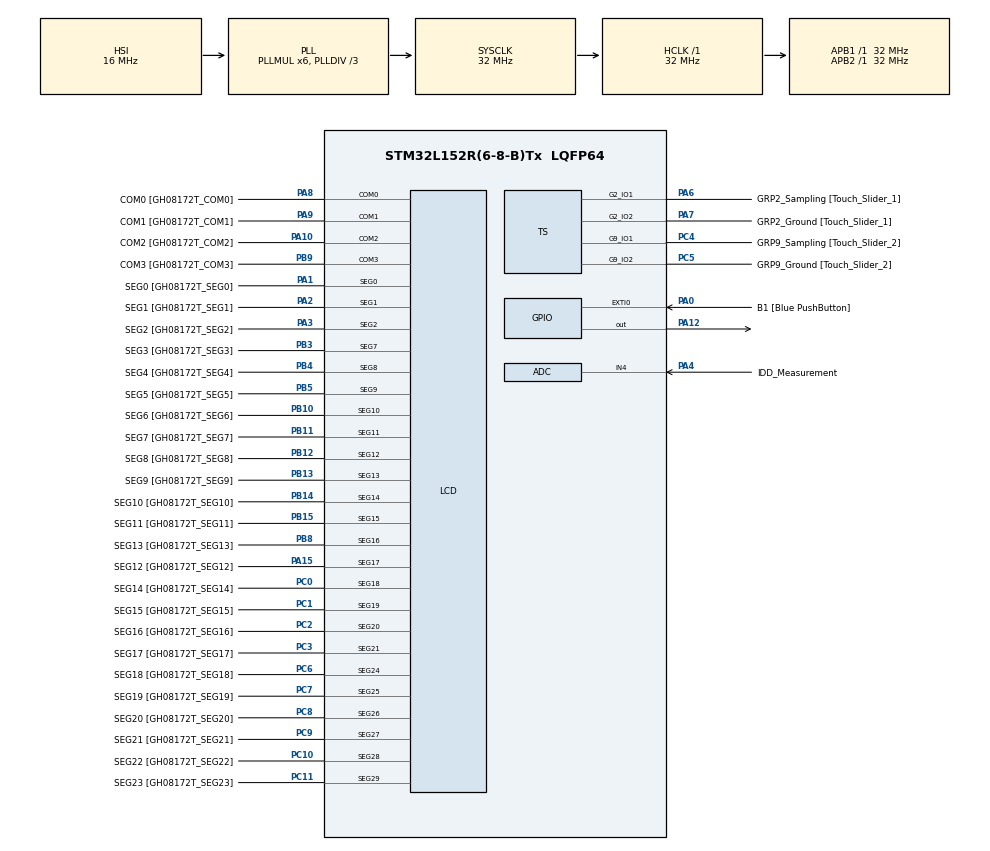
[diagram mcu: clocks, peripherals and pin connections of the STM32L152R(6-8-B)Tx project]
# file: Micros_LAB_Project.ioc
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ADC.Channel=ADC_CHANNEL_4
ADC.Channel-0\#ChannelRegularConversion=ADC_CHANNEL_4
ADC.Channel-IN4=ADC_CHANNEL_4
ADC.ExternalTrigConv=ADC_EXTERNALTRIGCONV_T2_CC3
ADC.ExternalTrigConv-0\#ChannelRegularConversion=ADC_SOFTWARE_START
ADC.ExternalTrigConvEdge=ADC_EXTERNALTRIGCONVEDGE_RISING
ADC.Rank-0\#ChannelRegularConversion=1
ADC.SamplingTime-0\#ChannelRegularConversion=ADC_SAMPLETIME_4CYCLES
Mcu.Family=STM32L1
Mcu.Name=STM32L152R(6-8-B)Tx
Mcu.Package=LQFP64
NVIC.PriorityGroup=NVIC_PRIORITYGROUP_0
PA0-WKUP1.GPIO_Label=B1 [Blue PushButton]
PA0-WKUP1.GPIO_ModeDefaultEXTI=GPIO_MODE_EVT_RISING
PA0-WKUP1.GPIO_PuPd=GPIO_NOPULL
PA0-WKUP1.Signal=GPXTI0
PA1.GPIO_Label=SEG0 [GH08172T_SEG0]
PA1.GPIO_Mode=GPIO_MODE_AF_PP
PA1.GPIO_PuPd=GPIO_NOPULL
PA1.GPIO_Speed=GPIO_SPEED_FREQ_LOW
PA1.Mode=SEG0
PA1.Signal=LCD_SEG0
PA10.GPIO_Label=COM2 [GH08172T_COM2]
PA10.GPIO_Mode=GPIO_MODE_AF_PP
PA10.GPIO_PuPd=GPIO_NOPULL
PA10.GPIO_Speed=GPIO_SPEED_FREQ_LOW
PA10.Mode=1/4 Duty Cycle
PA10.Signal=LCD_COM2
PA12.Signal=GPIO_Output
PA13.GPIO_Label=SWDIO
PA13.Mode=Serial_Wire
PA13.Signal=SYS_JTMS-SWDIO
PA14.GPIO_Label=SWCLK
PA14.Mode=Serial_Wire
PA14.Signal=SYS_JTCK-SWCLK
PA15.GPIO_Label=SEG12 [GH08172T_SEG12]
PA15.GPIO_Mode=GPIO_MODE_AF_PP
PA15.GPIO_PuPd=GPIO_NOPULL
PA15.GPIO_Speed=GPIO_SPEED_FREQ_LOW
PA15.Mode=SEG17
PA15.Signal=LCD_SEG17
PA2.GPIO_Label=SEG1 [GH08172T_SEG1]
PA2.GPIO_Mode=GPIO_MODE_AF_PP
PA2.GPIO_PuPd=GPIO_NOPULL
PA2.GPIO_Speed=GPIO_SPEED_FREQ_LOW
PA2.Mode=SEG1
PA2.Signal=LCD_SEG1
PA3.GPIO_Label=SEG2 [GH08172T_SEG2]
PA3.GPIO_Mode=GPIO_MODE_AF_PP
PA3.GPIO_PuPd=GPIO_NOPULL
PA3.GPIO_Speed=GPIO_SPEED_FREQ_LOW
PA3.Mode=SEG2
PA3.Signal=LCD_SEG2
PA4.GPIO_Label=IDD_Measurement
PA4.GPIO_Mode=GPIO_MODE_ANALOG
PA4.GPIO_PuPd=GPIO_NOPULL
PA4.Mode=IN4
PA4.Signal=ADC_IN4
PA6.GPIO_Label=GRP2_Sampling [Touch_Slider_1]
PA6.Mode=G2_IO1-Sampling
PA6.Signal=TS_G2_IO1
PA7.GPIO_Label=GRP2_Ground [Touch_Slider_1]
PA7.Mode=G2_IO2-Channel
PA7.Signal=TS_G2_IO2
PA8.GPIO_Label=COM0 [GH08172T_COM0]
PA8.GPIO_Mode=GPIO_MODE_AF_PP
PA8.GPIO_PuPd=GPIO_NOPULL
PA8.GPIO_Speed=GPIO_SPEED_FREQ_LOW
PA8.Mode=1/4 Duty Cycle
PA8.Signal=LCD_COM0
PA9.GPIO_Label=COM1 [GH08172T_COM1]
PA9.GPIO_Mode=GPIO_MODE_AF_PP
PA9.GPIO_PuPd=GPIO_NOPULL
PA9.GPIO_Speed=GPIO_SPEED_FREQ_LOW
PA9.Mode=1/4 Duty Cycle
PA9.Signal=LCD_COM1
PB0.Signal=TS_G3_IO1
PB1.Signal=TS_G3_IO2
PB10.GPIO_Label=SEG6 [GH08172T_SEG6]
PB10.GPIO_Mode=GPIO_MODE_AF_PP
PB10.GPIO_PuPd=GPIO_NOPULL
PB10.GPIO_Speed=GPIO_SPEED_FREQ_LOW
PB10.Mode=SEG10
PB10.Signal=LCD_SEG10
PB11.GPIO_Label=SEG7 [GH08172T_SEG7]
PB11.GPIO_Mode=GPIO_MODE_AF_PP
PB11.GPIO_PuPd=GPIO_NOPULL
PB11.GPIO_Speed=GPIO_SPEED_FREQ_LOW
PB11.Mode=SEG11
PB11.Signal=LCD_SEG11
PB12.GPIO_Label=SEG8 [GH08172T_SEG8]
PB12.GPIO_Mode=GPIO_MODE_AF_PP
PB12.GPIO_PuPd=GPIO_NOPULL
PB12.GPIO_Speed=GPIO_SPEED_FREQ_LOW
PB12.Mode=SEG12
PB12.Signal=LCD_SEG12
PB13.GPIO_Label=SEG9 [GH08172T_SEG9]
PB13.GPIO_Mode=GPIO_MODE_AF_PP
PB13.GPIO_PuPd=GPIO_NOPULL
PB13.GPIO_Speed=GPIO_SPEED_FREQ_LOW
PB13.Mode=SEG13
PB13.Signal=LCD_SEG13
PB14.GPIO_Label=SEG10 [GH08172T_SEG10]
PB14.GPIO_Mode=GPIO_MODE_AF_PP
PB14.GPIO_PuPd=GPIO_NOPULL
PB14.GPIO_Speed=GPIO_SPEED_FREQ_LOW
PB14.Mode=SEG14
PB14.Signal=LCD_SEG14
PB15.GPIO_Label=SEG11 [GH08172T_SEG11]
PB15.GPIO_Mode=GPIO_MODE_AF_PP
PB15.GPIO_PuPd=GPIO_NOPULL
PB15.GPIO_Speed=GPIO_SPEED_FREQ_LOW
PB15.Mode=SEG15
PB15.Signal=LCD_SEG15
PB3.GPIO_Label=SEG3 [GH08172T_SEG3]
PB3.GPIO_Mode=GPIO_MODE_AF_PP
PB3.GPIO_PuPd=GPIO_NOPULL
PB3.GPIO_Speed=GPIO_SPEED_FREQ_LOW
PB3.Mode=SEG7
PB3.Signal=LCD_SEG7
PB4.GPIO_Label=SEG4 [GH08172T_SEG4]
PB4.GPIO_Mode=GPIO_MODE_AF_PP
PB4.GPIO_PuPd=GPIO_NOPULL
PB4.GPIO_Speed=GPIO_SPEED_FREQ_LOW
PB4.Mode=SEG8
PB4.Signal=LCD_SEG8
PB5.GPIO_Label=SEG5 [GH08172T_SEG5]
PB5.GPIO_Mode=GPIO_MODE_AF_PP
PB5.GPIO_PuPd=GPIO_NOPULL
PB5.GPIO_Speed=GPIO_SPEED_FREQ_LOW
PB5.Mode=SEG9
PB5.Signal=LCD_SEG9
PB6.Signal=S_TIM4_CH1
PB7.Signal=S_TIM4_CH2
PB8.GPIO_Label=SEG13 [GH08172T_SEG13]
PB8.GPIO_Mode=GPIO_MODE_AF_PP
PB8.GPIO_PuPd=GPIO_NOPULL
PB8.GPIO_Speed=GPIO_SPEED_FREQ_LOW
PB8.Mode=SEG16
PB8.Signal=LCD_SEG16
PB9.GPIO_Label=COM3 [GH08172T_COM3]
PB9.GPIO_Mode=GPIO_MODE_AF_PP
PB9.GPIO_PuPd=GPIO_NOPULL
PB9.GPIO_Speed=GPIO_SPEED_FREQ_LOW
PB9.Mode=1/4 Duty Cycle
PB9.Signal=LCD_COM3
PC0.GPIO_Label=SEG14 [GH08172T_SEG14]
PC0.GPIO_Mode=GPIO_MODE_AF_PP
PC0.GPIO_PuPd=GPIO_NOPULL
PC0.GPIO_Speed=GPIO_SPEED_FREQ_LOW
PC0.Mode=SEG18
PC0.Signal=LCD_SEG18
PC1.GPIO_Label=SEG15 [GH08172T_SEG15]
PC1.GPIO_Mode=GPIO_MODE_AF_PP
PC1.GPIO_PuPd=GPIO_NOPULL
PC1.GPIO_Speed=GPIO_SPEED_FREQ_LOW
PC1.Mode=SEG19
PC1.Signal=LCD_SEG19
PC10.GPIO_Label=SEG22 [GH08172T_SEG22]
PC10.GPIO_Mode=GPIO_MODE_AF_PP
PC10.GPIO_PuPd=GPIO_NOPULL
PC10.GPIO_Speed=GPIO_SPEED_FREQ_LOW
PC10.Mode=SEG28
PC10.Signal=LCD_SEG28
PC11.GPIO_Label=SEG23 [GH08172T_SEG23]
PC11.GPIO_Mode=GPIO_MODE_AF_PP
PC11.GPIO_PuPd=GPIO_NOPULL
PC11.GPIO_Speed=GPIO_SPEED_FREQ_LOW
PC11.Mode=SEG29
PC11.Signal=LCD_SEG29
PC14-OSC32_IN.GPIO_Label=PC14-OSC32_IN
PC14-OSC32_IN.Mode=LSE-External-Oscillator
PC14-OSC32_IN.Signal=RCC_OSC32_IN
PC15-OSC32_OUT.GPIO_Label=PC15-OSC32_OUT
PC15-OSC32_OUT.Mode=LSE-External-Oscillator
PC15-OSC32_OUT.Signal=RCC_OSC32_OUT
PC2.GPIO_Label=SEG16 [GH08172T_SEG16]
PC2.GPIO_Mode=GPIO_MODE_AF_PP
PC2.GPIO_PuPd=GPIO_NOPULL
PC2.GPIO_Speed=GPIO_SPEED_FREQ_LOW
PC2.Mode=SEG20
PC2.Signal=LCD_SEG20
PC3.GPIO_Label=SEG17 [GH08172T_SEG17]
PC3.GPIO_Mode=GPIO_MODE_AF_PP
PC3.GPIO_PuPd=GPIO_NOPULL
PC3.GPIO_Speed=GPIO_SPEED_FREQ_LOW
PC3.Mode=SEG21
PC3.Signal=LCD_SEG21
PC4.GPIO_Label=GRP9_Sampling [Touch_Slider_2]
PC4.Mode=G9_IO1-Sampling
PC4.Signal=TS_G9_IO1
PC5.GPIO_Label=GRP9_Ground [Touch_Slider_2]
PC5.Mode=G9_IO2-Channel
PC5.Signal=TS_G9_IO2
PC6.GPIO_Label=SEG18 [GH08172T_SEG18]
PC6.GPIO_Mode=GPIO_MODE_AF_PP
PC6.GPIO_PuPd=GPIO_NOPULL
PC6.GPIO_Speed=GPIO_SPEED_FREQ_LOW
PC6.Mode=SEG24
PC6.Signal=LCD_SEG24
PC7.GPIO_Label=SEG19 [GH08172T_SEG19]
PC7.GPIO_Mode=GPIO_MODE_AF_PP
PC7.GPIO_PuPd=GPIO_NOPULL
PC7.GPIO_Speed=GPIO_SPEED_FREQ_LOW
PC7.Mode=SEG25
PC7.Signal=LCD_SEG25
PC8.GPIO_Label=SEG20 [GH08172T_SEG20]
PC8.GPIO_Mode=GPIO_MODE_AF_PP
PC8.GPIO_PuPd=GPIO_NOPULL
PC8.GPIO_Speed=GPIO_SPEED_FREQ_LOW
PC8.Mode=SEG26
PC8.Signal=LCD_SEG26
PC9.GPIO_Label=SEG21 [GH08172T_SEG21]
PC9.GPIO_Mode=GPIO_MODE_AF_PP
PC9.GPIO_PuPd=GPIO_NOPULL
PC9.GPIO_Speed=GPIO_SPEED_FREQ_LOW
PC9.Mode=SEG27
PC9.Signal=LCD_SEG27
ProjectManager.HeapSize=0x200
ProjectManager.StackSize=0x400
ProjectManager.TargetToolchain=STM32CubeIDE
RCC.48MHZClocksFreq_Value=48000000
RCC.AHBFreq_Value=32000000
RCC.APB1Freq_Value=32000000
RCC.APB1TimFreq_Value=32000000
RCC.APB2Freq_Value=32000000
RCC.APB2TimFreq_Value=32000000
RCC.HCLKFreq_Value=32000000
RCC.HSE_VALUE=8000000
RCC.HSI_VALUE=16000000
RCC.MSI_VALUE=2097000
RCC.PLLDIV=RCC_PLL_DIV3
RCC.PLLMUL=RCC_PLL_MUL6
RCC.RTCClockSelectionVirtual=RCC_RTCCLKSOURCE_LSE
RCC.SYSCLKFreq_VALUE=32000000
RCC.SYSCLKSource=RCC_SYSCLKSOURCE_PLLCLK
RCC.USBOutput=48000000
RCC.VCOOutputFreq_Value=96000000
SH.S_TIM4_CH1.0=TIM4_CH1
SH.S_TIM4_CH2.0=TIM4_CH2
TS.SamplingIOs-G2_IO1-Sampling=TSC_GROUP2_IO1
TS.SamplingIOs-G9_IO1-Sampling=TSC_GROUP9_IO1
VP_TIM3_VS_ClockSourceINT.Mode=Internal
VP_TIM4_VS_ClockSourceINT.Mode=Internal
board=STM32L-DISCOVERY

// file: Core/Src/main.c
/* USER CODE BEGIN Header */
/**
  ******************************************************************************
  * @file           : main.c
  * @brief          : Main program body
  ******************************************************************************
  * @attention
  *
  * Copyright (c) 2022 STMicroelectronics.
  * All rights reserved.
  *
  * This software is licensed under terms that can be found in the LICENSE file
  * in the root directory of this software component.
  * If no LICENSE file comes with this software, it is provided AS-IS.
  *
  * @authors        : Rodrigo De Lama Fernández @rodrigodelama
  *                   Manuel Morales Niño @ikaoseu
  *                   Jaime Mato Rodriguez @Pekeniojimi
  *
  * @repo           : https://github.com/rodrigodelama/LAB_1
  *
  ******************************************************************************
  */
/* USER CODE END Header */
#include "main.h"

/* USER CODE BEGIN Includes */
#include "stm32l152c_discovery.h"
#include "stm32l152c_discovery_glass_lcd.h"
#include "SDM_Utils.h"
/* USER CODE END Includes */

 ADC_HandleTypeDef hadc;

LCD_HandleTypeDef hlcd;

TIM_HandleTypeDef htim3;
TIM_HandleTypeDef htim4;

/* USER CODE BEGIN PV */
//GLOBAL VARS & DEFINITIONS
//game vars
unsigned int prev_game = 0;
unsigned int game = 1; //game 1 is the starting point
unsigned int winner = 0; //Init to 0, if it never changes, it will generate an error
unsigned int playing = 0; // to not activate the interrupts unless we are awaiting

//timer vars
int countdown[] = {10, 9, 8, 7, 6, 5, 4, 3, 2, 1};
//unsigned int game1_rand;
unsigned int diff;
unsigned int diff1;
unsigned int diff2;
char p1w[10];

/* ideas for timer variables
unsigned int led_timer = sec; //minimum 1 sec
unsigned short init_time = 0;
unsigned int time1;
unsigned int time_taken = 0;
*/

/* USER CODE END PV */

void SystemClock_Config(void);
static void MX_GPIO_Init(void);
static void MX_ADC_Init(void);
static void MX_LCD_Init(void);
static void MX_TS_Init(void);
static void MX_TIM4_Init(void);
static void MX_TIM3_Init(void);

/* USER CODE BEGIN 0 */
//INTERRUPTS
void EXTI0_IRQHandler(void)
{
  // USER BUTTON is pressed, a rising edge is detected in PA0
  if ((EXTI->PR&BIT_0) != 0) // Is EXTI0 flag on? //0000000000000001 in the Pending Register of ISER[0]
  {
	  game++; //If at GAME 1, proceed to GAME 2
	  if (game > 2) game = 1; //Reset to 1 after requesting change from GAME 2
  }
  EXTI->PR |= (1 << 6); // Clear EXTI0 flag (writes a 1 in PR0 pos)
  //Clear flag must be out of condition so it never hangs if condition is not met
}

// NVIC->ISER[0] pin 23 for EXTIs 9 to 5
void EXTI9_5_IRQHandler(void) //ISR for EXTI7 & EXTI6
{
  if (((EXTI->PR&BIT_7) || (EXTI->PR&BIT_6)) != 0) //most general aproach --> (EXTI->PR != 0)
  {
    // BUTTON 1 is pressed, a rising edge is detected in PB7
    if (EXTI->PR & (1 << 7) && (playing == 1)) // 00000000010000000 in pending register of ISER[0]
    {
      winner = 1;
    }
    // BUTTON 2 is pressed, a rising edge is detected in PB6
    if (EXTI->PR & (1 << 6) && (playing == 1)) // 00000000001000000 in pending register
    {
      winner = 2;
    }
  }
  //Always clear flags to avoid hanging
  EXTI->PR |= (1 << 7); // Clear the EXTI7 flag (writes a 1 in PR7)
  EXTI->PR |= (1 << 6); // Clear the EXTI6 flag
}

//TIMERS
//timers TOC timer 3 ch4
void TIM3_IRQHandler(void)
{
/**
 * @brief
 *             //here?
            TIM3->CCR = random_num(0, 10000);
 */
  //we possibly should not care, just use ch1 for game 1, ch2 for game 2
  /*
  if ((TIM3->SR & BIT_1) != 0)
  {
    switch (game)
    {
    case 1:
      //for led shutoff
      //game1_rand = random_num(0, 10000);
      //TIM3->CCR1 = game1_rand;
      TIM3->CCR1 = random_num(0, 1000000);
    break;

    case 2:
      //TIM3->CCR1 from 0 to 10000
    break;

    default:
      break;
    }
  }
*/
}
//timers TIC timer 4 ch1 and ch2
void TIM4_IRQHandler(void) //TIC
{
  //checks if it has been activated if so makes it work
//checks if the SR has been flagged or if its
//checks if the event has come
}
/* USER CODE END 0 */

int main(void)
{

  /* MCU Configuration--------------------------------------------------------*/

  /* Reset of all peripherals, Initializes the Flash interface and the Systick. */
  HAL_Init();

  /* Configure the system clock */
  SystemClock_Config();

  /* Initialize all configured peripherals */
  MX_GPIO_Init();
  MX_ADC_Init();
  MX_LCD_Init();
  MX_TS_Init();
  MX_TIM4_Init();
  MX_TIM3_Init();
  /* USER CODE BEGIN 2 */
  //DECLARATION OF PERIPHERALS WE WILL USE

  //LCD Setup
  BSP_LCD_GLASS_Init();
  BSP_LCD_GLASS_BarLevelConfig(0);
  BSP_LCD_GLASS_Clear();

  //Pins + their EXTIs - I/O
  /* PB0 ---------------------------------------------------------------------*/
  //PA0 (USER BUTTON) - digital input (00)
  GPIOA->MODER &= ~(1 << (0*2 + 1));
  GPIOA->MODER &= ~(1 << (0*2));
  //EXTI0
  SYSCFG->EXTICR[0] = 0000; // Linking EXTI0 to GPIOA (PA0 = USER BUTTON) - all zeros mean GPIOA
  EXTI->RTSR |= BIT_0; // Enables rising edge in EXTI0
  EXTI->FTSR &= ~(BIT_0); // Disables falling edge in EXTI0
  EXTI->IMR |= BIT_0; // Enables the Interrupt (i.e. the event) (IMR = Interrupt Mask Register)
  NVIC->ISER[0] |= (1 << 6); //Enables EXTI0 in the NVICs ISER[0]s position 6

  //USING I/O PINS 7 & 6 FOR PLAYER BUTTONS 1 & 2 RESPECTIVELY
  /* PB7 ---------------------------------------------------------------------*/
  //PB7 (BUTTON 1) - digital input (00)
  //Set PB7 to 10 for Alternate Functions (AFs)
  GPIOB->MODER |= (1 << (7*2 + 1));
  GPIOB->MODER &= ~(1 << (7*2));
  //AF for TIM4_CH2
  GPIOB->AFR[0] |= (0x02 << (7*4)); // Writes 0010 in AFRL7
  //WE NEED INTERNAL RESISTORS - pull-up OR pull-down ?
  //We chose pull-up: a constant 1 unless we press, then its shorted to GND
  //Set up with pull-up resistor (01)
  GPIOB->PUPDR &= ~(1 << (7*2 + 1));
  GPIOB->PUPDR |= (1 << (7*2));
  //EXTI7
  SYSCFG->EXTICR[1] |= BIT_12; // Linking EXTI7 to GPIOB (PB7 = BUTTON 1)
                    // Sets a 1 in bit 12 see page 145 of the manual
  EXTI->RTSR &= ~(BIT_7); // Disables rising edge in EXTI7
  EXTI->FTSR |= BIT_7; // Enables falling edge in EXTI7
  EXTI->IMR |= BIT_7; // Enables the interrupt
  NVIC->ISER[0] |= (1 << 23); // EXTI7 has position 23 in ISER[0]

  /* PB6 ---------------------------------------------------------------------*/
  //PB6 (BUTTON 2) - digital input (00)
  //TIM4_CH1
  //Set PB6 to 10 for AFs
  GPIOB->MODER |= (1 << (6*2 + 1));
  GPIOB->MODER &= ~(1 << (6*2));
  //Set up with pull-up resistor (01)
  GPIOB->PUPDR &= ~(1 << (6*2 + 1));
  GPIOB->PUPDR |= (1 << (6*2));
  //AF for TIM4_CH1
  GPIOB->AFR[0] |= (0x02 << (6*4)); // Writes 0010 in AFRL6
  //EXTI6
  SYSCFG->EXTICR[1] |= BIT_8; // Linking EXTI6 to GPIOB (PB6 = BUTTON 2)
                    // Sets a 1 in bit 8 see page 145 of the manual
  EXTI->RTSR &= ~(BIT_6); // Disables rising edge in EXTI6
  EXTI->FTSR |= BIT_6; // Enables falling edge in EXTI6
  EXTI->IMR |= BIT_6; // Enables the interrupt
  NVIC->ISER[0] |= (1 << 23); // EXTI6 & 7 have position 23 in the NVIC, since

  //TIMERS
  /* TIM3 --------------------------------------------------------------------*/
  //No pin assignment, we just plainly use it for the TOC
  //SET-UP for TIMs 3, CH3 & CH4 - TOCs, for random LED off and TBD
  TIM3->CR1 = 0x0000; // ON IN CODE BELOW
  TIM3->CR2 = 0x0000; // Always set to 0
  TIM3->SMCR = 0x0000; // Always set to 0
  TIM3->PSC = 32000;
  TIM3->CNT = 0;
  TIM3->ARR = 0xFFFF; //USED IN PWN
  TIM3->CCMR1 = 0x0000;  //CCyS = 0 (TOC)
                         //OCyM = 000 (no external output)
                         //OCyPE = 0 (no preload)
  TIM3->CCER = 0x0000;   //CCyP = 0 (always in TOC)
                         //CCyE = (external output disabled)
  TIM3->CCR1 = random_num(0, 10000);
  //TIM3->CC1S = 00;
  //TIM3->OC1M = 000; //TOC NO OUTPUT
  TIM3->DIER |= BIT_0; //activated IRQ for channel 1
  TIM3->CR1 |= 1; // Set BIT_0 to 1 to activate the timer

  /* TIM 4 -------------------------------------------------------------------*/
  //Assigned to PB7 and PB7
  //SET-UP for TIMs 4, CH1 & CH2 - TICs
  TIM4->CR1 = 0x0000; //Set to 0 for Counter OFF - ON IN CODE BELOW
                      //ARPE off because NOT PWM
  TIM4->CR2 = 0x0000; //Always set to 0
  TIM4->SMCR = 0x0000; //Always set to 0
  TIM4->PSC = 31999; //Means fclk/(PSC+1)
  TIM4->CNT = 0;
  TIM4->ARR = 0xFFFF; //USED IN PWN
  //TIM4->CC3S = 01;
  //TIM4->CC4S = 01;

  //FIXME:
  TIM4->DIER = 0X0000; //No IRQ after succesful comparison -> CCyIE = 0

  /* COMMENTS ----------------------------------------------------------------*/
  //CCMR1 for ch1 and ch2
  //CCMR2 for ch3 and ch4

  //activate I/O here
  //TIC ojo con la entrada

  // CCR4
  // TIM3->CCR4 = rand_value_where_we_stop; //It will always be lower than 0xFFFF (65,535 > 10,000)
                  //Our max time value will be 10secs

  /* LEDs ---------------------------------------------------------------------*/
  //LED1
  //PA12 (EXTERNAL LED1) - AF
  GPIOA->MODER &= ~(1 << (12*2 + 1));
  GPIOA->MODER |= (1 << (12*2));
  GPIOA->AFR[0] |= (0x02 << (12*4)); // Writes 0010 in AFRL12
  //Set up with pull-up resistor (01)
  GPIOA->PUPDR &= ~(1 << (12*2 + 1));
  GPIOA->PUPDR |= (1 << (12*2));
  //LED2
  //PD2 (EXTERNAL LED2) - digital output (01)
  GPIOD->MODER &= ~(1 << (2*2 + 1));
  GPIOD->MODER |= (1 << (2*2));
  //Set up with pull-up resistor (01)
  GPIOD->PUPDR &= ~(1 << (2*2 + 1));
  GPIOD->PUPDR |= (1 << (2*2));

  /* USER CODE END 2 */

  /* Infinite loop */
  /* USER CODE BEGIN WHILE */
  while (1)
  {
    //Requirements
    //Display GAME 1 (initially) --> DONE IN GLOBAL VAR DECLARATION
    //If the USER BUTTON is pressed, change to GAME 2 (at ANY time) --> global if
    //In GAME 1, wait predetermined time and start (use espera() function)

    //Global IF condition, so we may immediately switch between games
    //(a WHILE would force us to finish the code execution inside)

    //All LEDs shall be initially off - when changing game modes, upon a restart of the main while loop
    GPIOA->BSRR = (1 << 12) << 16;
    GPIOD->BSRR = (1 << 2) << 16;

    //Clear all timer flags to be used
    TIM4->SR = 0; // CLEAR FLAGS
    TIM3->SR = 0;

    if (prev_game != game)
    {
      prev_game = game;
      switch(game)
      {
        case 1: // GAME 1 - REACTION TIME
          while (game == 1)
          {
            BSP_LCD_GLASS_Clear(); //Clear LCD
            BSP_LCD_GLASS_DisplayString((uint8_t*)" GAME1");
            espera(2*sec);
            //if (prev_game != game) break;
            //GAME STARTS HERE
            BSP_LCD_GLASS_Clear(); //Not strictly needed since we are printing the same No. of chars to display
            BSP_LCD_GLASS_DisplayString((uint8_t*)" READY");
            espera(2*sec);
            //if (prev_game != game) break;
            BSP_LCD_GLASS_Clear();
            BSP_LCD_GLASS_DisplayString((uint8_t*)"  GO");
            //if (prev_game != game) break;
            //Waiting for users to input

            //random num generator lower than 10000 (ten thousand) - 10 secs to

            while ((game == 1) && (winner == 0)) //(game == 1) is also necessary in case we want to change games here
            {
              playing = 1;
              if (prev_game != game) break;  //Not sure if needed

              //FIXME: review - ask
              //Start counters
              TIM3->CR1 |= 0x0001;   //CEN = 1 Start counter
              TIM3->EGR |= 0x0001;   //UG = 1->Generate an update event to update all registers
              //TIM3->SR = 0;          //clear counter flags

              //Before 10 secs at ANY time, LED1 ON
              //Random timer reaches zero - led
              while ((TIM3->CNT) != (TIM3->CCR1))
              {
                if (prev_game != game) break;
              }
              while (winner == 0)
              {
                while((TIM3->SR&0x0002)==0);
                TIM3->SR &= ~(0x0002);
                GPIOA->BSRR = (1 << 12); // LED ON while no player has pressed their button yet
                  //Start TICs counters
                TIM4->CR1 |= BIT_0;
                TIM4->EGR |= BIT_0;
                if (prev_game != game) break;
              }
              if (prev_game != game) break;
            }

            //WINNER is determined by the interrupts, they will change the var winner to 1 or 2 respectively
            if (winner == 1)
            {
              GPIOA->BSRR = (1 << 12) << 16; //Turn off the LED after a win
              BSP_LCD_GLASS_Clear();

              //FIXME: review
              //which is tim4->cnt count for ch3 or ch4 ???????
              diff = ((TIM4->CNT) - (TIM3->CCR1));

              diff1 = diff + 10000; //+10000 to always have P1 won (1XXXX
              //p1w = strcat(" 1", (char*) diff);
              //format shall be Y user followed by XXXX milliseconds
              BSP_LCD_GLASS_DisplayString((uint8_t*) diff1);

              espera(2*sec); //wait so the player acknowledges their win
              winner = 0; //reset winner for future match
              playing = 0;
              //reset timers? or do we reset at the start of each game?
            }
            else if (winner == 2) // We use an else if because we only want ONE winner
            {
              GPIOA->BSRR = (1 << 12) << 16;
              BSP_LCD_GLASS_Clear();

              diff = ((TIM4->CNT) - (TIM3->CCR1));
              diff2 = diff + 20000; //+20000 to always have P2 won (2XXXX)
              //char p2w[] = " 2" + diff;
              BSP_LCD_GLASS_DisplayString((uint8_t*) diff2);

              espera(2*sec);
              winner = 0;
              playing = 0;
            }
          }
        break;

        case 2: // GAME 2 - COUNTDOWN
          while (game == 2)
          {
            //TODO: COUNTDOWN
            BSP_LCD_GLASS_Clear();
            BSP_LCD_GLASS_DisplayString((uint8_t*)" GAME2");
            espera(2*sec);
            //if (prev_game != game) break;

            //COUNTDOWN GAME
            //users are displayed the countdown in real time from 10 in real time
            //at a random time (a while before 0)
            //the countdown STOPS being displayed
            //the users have to attempt to press the button when the countdown reaches 0

            //The player with the closest time to 0 will win
            //Pressing before the countdown ends will result in displaying -XXXX time left
            //Pressing after the countdown ends will result in displaying +XXXX time passed
            //The player to have the closest absolute value to 0, wins

            //REVIEW BELOW
            //Determine OVERTIME or UNDERTIME with TOC minus TIC
            //undertime if TIM3 hasnt reached 0 so do operation (time_to_zero - input_time)

            BSP_LCD_GLASS_Clear();
            BSP_LCD_GLASS_DisplayString((uint8_t*)" READY");
            espera(2*sec);
            //if (prev_game != game) break;
            BSP_LCD_GLASS_Clear();
            BSP_LCD_GLASS_DisplayString((uint8_t*)" SET");
/*
            //NOT A WHILE - Not waiting, just counting
            //We want a continuously running game (3 seconds max of waiting for user input)
            if ((winner == 0) && (tim4_TICs << 3*sec)) //if wait to press is longer than 3 secs after countdown = 0, abort and restart game
            {
              //start countdown with tim3_ch3
              if (prev_game != game) break;
              playing = 1;
              //When random timer reaches zero STOP LCD DISPLAY
              //keep counting down though
              // if lcd_on != 0 keep on displaying, else kill lcd

              //send an array of ASCII code for the countdown

              if (winner == 1)
              {
                GPIOA->BSRR = (1 << 12); //Turn ON LED1 for P1 win
                BSP_LCD_GLASS_Clear();

                //format shall be Y user followed by XXXX milliseconds
                BSP_LCD_GLASS_DisplayString((uint8_t*)" P1 W"); //(" 1%d", time_taken)

                espera(2*sec); //wait so the player acknowledges their win
                winner = 0; //reset winner for future match
                playing = 0;
                //reset timers? or do we reset at the start of each game?
              }
              else if (winner == 2) // We use an else if because we only want ONE winner
              {
                GPIOD->BSRR = (1 << 2); //Turn ON LED2 for P2 win
                BSP_LCD_GLASS_Clear();
                BSP_LCD_GLASS_DisplayString((uint8_t*)" P2 W");

                espera(2*sec);
                winner = 0;
                playing = 0;
              }
              //Retry message for when players take more than 20 post countdown reaching 0 to react
              if (tim4_TICs << 30*sec) BSP_LCD_GLASS_DisplayString((uint8_t*)" RETRY");

              //USE TIMER to count how many secs and add to a variable
              //time_taken = timer_value at break
            }
*/
          }
        break;

        //This code below should be unreachable on purpose
        //Written to acknowledge a logical failure (of our code)
        default:
          GPIOA->BSRR = (1 << 12) << 16;
          BSP_LCD_GLASS_Clear();
          BSP_LCD_GLASS_DisplayString((uint8_t*)" ERROR");
          espera(2*sec);
          BSP_LCD_GLASS_Clear();
          BSP_LCD_GLASS_DisplayString((uint8_t*)" RESET");
        break;
      }
    }
  HAL_Delay(50); //to avoid button bouncing
    /* USER CODE END WHILE */

  }
}

void SystemClock_Config(void)
{
  RCC_OscInitTypeDef RCC_OscInitStruct = {0};
  RCC_ClkInitTypeDef RCC_ClkInitStruct = {0};
  RCC_PeriphCLKInitTypeDef PeriphClkInit = {0};

  /** Configure the main internal regulator output voltage
  */
  __HAL_PWR_VOLTAGESCALING_CONFIG(PWR_REGULATOR_VOLTAGE_SCALE1);

  /** Initializes the RCC Oscillators according to the specified parameters
  * in the RCC_OscInitTypeDef structure.
  */
  RCC_OscInitStruct.OscillatorType = RCC_OSCILLATORTYPE_HSI|RCC_OSCILLATORTYPE_LSE;
  RCC_OscInitStruct.LSEState = RCC_LSE_ON;
  RCC_OscInitStruct.HSIState = RCC_HSI_ON;
  RCC_OscInitStruct.HSICalibrationValue = RCC_HSICALIBRATION_DEFAULT;
  RCC_OscInitStruct.PLL.PLLState = RCC_PLL_ON;
  RCC_OscInitStruct.PLL.PLLSource = RCC_PLLSOURCE_HSI;
  RCC_OscInitStruct.PLL.PLLMUL = RCC_PLL_MUL6;
  RCC_OscInitStruct.PLL.PLLDIV = RCC_PLL_DIV3;
  if (HAL_RCC_OscConfig(&RCC_OscInitStruct) != HAL_OK)
  {
    Error_Handler();
  }

  /** Initializes the CPU, AHB and APB buses clocks
  */
  RCC_ClkInitStruct.ClockType = RCC_CLOCKTYPE_HCLK|RCC_CLOCKTYPE_SYSCLK
                              |RCC_CLOCKTYPE_PCLK1|RCC_CLOCKTYPE_PCLK2;
  RCC_ClkInitStruct.SYSCLKSource = RCC_SYSCLKSOURCE_PLLCLK;
  RCC_ClkInitStruct.AHBCLKDivider = RCC_SYSCLK_DIV1;
  RCC_ClkInitStruct.APB1CLKDivider = RCC_HCLK_DIV1;
  RCC_ClkInitStruct.APB2CLKDivider = RCC_HCLK_DIV1;

  if (HAL_RCC_ClockConfig(&RCC_ClkInitStruct, FLASH_LATENCY_1) != HAL_OK)
  {
    Error_Handler();
  }
  PeriphClkInit.PeriphClockSelection = RCC_PERIPHCLK_RTC|RCC_PERIPHCLK_LCD;
  PeriphClkInit.RTCClockSelection = RCC_RTCCLKSOURCE_LSE;
  PeriphClkInit.LCDClockSelection = RCC_RTCCLKSOURCE_LSE;

  if (HAL_RCCEx_PeriphCLKConfig(&PeriphClkInit) != HAL_OK)
  {
    Error_Handler();
  }
}

static void MX_ADC_Init(void)
{

  ADC_ChannelConfTypeDef sConfig = {0};

  /** Configure the global features of the ADC (Clock, Resolution, Data Alignment and number of conversion)
  */
  hadc.Instance = ADC1;
  hadc.Init.ClockPrescaler = ADC_CLOCK_ASYNC_DIV1;
  hadc.Init.Resolution = ADC_RESOLUTION_12B;
  hadc.Init.DataAlign = ADC_DATAALIGN_RIGHT;
  hadc.Init.ScanConvMode = ADC_SCAN_DISABLE;
  hadc.Init.EOCSelection = ADC_EOC_SEQ_CONV;
  hadc.Init.LowPowerAutoWait = ADC_AUTOWAIT_DISABLE;
  hadc.Init.LowPowerAutoPowerOff = ADC_AUTOPOWEROFF_DISABLE;
  hadc.Init.ChannelsBank = ADC_CHANNELS_BANK_A;
  hadc.Init.ContinuousConvMode = DISABLE;
  hadc.Init.NbrOfConversion = 1;
  hadc.Init.DiscontinuousConvMode = DISABLE;
  hadc.Init.ExternalTrigConv = ADC_EXTERNALTRIGCONV_T2_CC3;
  hadc.Init.ExternalTrigConvEdge = ADC_EXTERNALTRIGCONVEDGE_RISING;
  hadc.Init.DMAContinuousRequests = DISABLE;
  if (HAL_ADC_Init(&hadc) != HAL_OK)
  {
    Error_Handler();
  }

  /** Configure for the selected ADC regular channel its corresponding rank in the sequencer and its sample time.
  */
  sConfig.Channel = ADC_CHANNEL_4;
  sConfig.Rank = ADC_REGULAR_RANK_1;
  sConfig.SamplingTime = ADC_SAMPLETIME_4CYCLES;
  if (HAL_ADC_ConfigChannel(&hadc, &sConfig) != HAL_OK)
  {
    Error_Handler();
  }

}

static void MX_LCD_Init(void)
{

  hlcd.Instance = LCD;
  hlcd.Init.Prescaler = LCD_PRESCALER_1;
  hlcd.Init.Divider = LCD_DIVIDER_16;
  hlcd.Init.Duty = LCD_DUTY_1_4;
  hlcd.Init.Bias = LCD_BIAS_1_4;
  hlcd.Init.VoltageSource = LCD_VOLTAGESOURCE_INTERNAL;
  hlcd.Init.Contrast = LCD_CONTRASTLEVEL_0;
  hlcd.Init.DeadTime = LCD_DEADTIME_0;
  hlcd.Init.PulseOnDuration = LCD_PULSEONDURATION_0;
  hlcd.Init.MuxSegment = LCD_MUXSEGMENT_DISABLE;
  hlcd.Init.BlinkMode = LCD_BLINKMODE_OFF;
  hlcd.Init.BlinkFrequency = LCD_BLINKFREQUENCY_DIV8;
  if (HAL_LCD_Init(&hlcd) != HAL_OK)
  {
    Error_Handler();
  }

}

static void MX_TIM3_Init(void)
{

  TIM_ClockConfigTypeDef sClockSourceConfig = {0};
  TIM_MasterConfigTypeDef sMasterConfig = {0};

  htim3.Instance = TIM3;
  htim3.Init.Prescaler = 0;
  htim3.Init.CounterMode = TIM_COUNTERMODE_UP;
  htim3.Init.Period = 65535;
  htim3.Init.ClockDivision = TIM_CLOCKDIVISION_DIV1;
  htim3.Init.AutoReloadPreload = TIM_AUTORELOAD_PRELOAD_DISABLE;
  if (HAL_TIM_Base_Init(&htim3) != HAL_OK)
  {
    Error_Handler();
  }
  sClockSourceConfig.ClockSource = TIM_CLOCKSOURCE_INTERNAL;
  if (HAL_TIM_ConfigClockSource(&htim3, &sClockSourceConfig) != HAL_OK)
  {
    Error_Handler();
  }
  sMasterConfig.MasterOutputTrigger = TIM_TRGO_RESET;
  sMasterConfig.MasterSlaveMode = TIM_MASTERSLAVEMODE_DISABLE;
  if (HAL_TIMEx_MasterConfigSynchronization(&htim3, &sMasterConfig) != HAL_OK)
  {
    Error_Handler();
  }

}

static void MX_TIM4_Init(void)
{

  TIM_ClockConfigTypeDef sClockSourceConfig = {0};
  TIM_MasterConfigTypeDef sMasterConfig = {0};

  htim4.Instance = TIM4;
  htim4.Init.Prescaler = 0;
  htim4.Init.CounterMode = TIM_COUNTERMODE_UP;
  htim4.Init.Period = 65535;
  htim4.Init.ClockDivision = TIM_CLOCKDIVISION_DIV1;
  htim4.Init.AutoReloadPreload = TIM_AUTORELOAD_PRELOAD_DISABLE;
  if (HAL_TIM_Base_Init(&htim4) != HAL_OK)
  {
    Error_Handler();
  }
  sClockSourceConfig.ClockSource = TIM_CLOCKSOURCE_INTERNAL;
  if (HAL_TIM_ConfigClockSource(&htim4, &sClockSourceConfig) != HAL_OK)
  {
    Error_Handler();
  }
  sMasterConfig.MasterOutputTrigger = TIM_TRGO_RESET;
  sMasterConfig.MasterSlaveMode = TIM_MASTERSLAVEMODE_DISABLE;
  if (HAL_TIMEx_MasterConfigSynchronization(&htim4, &sMasterConfig) != HAL_OK)
  {
    Error_Handler();
  }

}

static void MX_TS_Init(void)
{

}

static void MX_GPIO_Init(void)
{
  GPIO_InitTypeDef GPIO_InitStruct = {0};

  /* GPIO Ports Clock Enable */
  __HAL_RCC_GPIOC_CLK_ENABLE();
  __HAL_RCC_GPIOA_CLK_ENABLE();
  __HAL_RCC_GPIOB_CLK_ENABLE();

  /*Configure GPIO pin Output Level */
  HAL_GPIO_WritePin(GPIOA, GPIO_PIN_12, GPIO_PIN_RESET);

  /*Configure GPIO pin : B1_Pin */
  GPIO_InitStruct.Pin = B1_Pin;
  GPIO_InitStruct.Mode = GPIO_MODE_EVT_RISING;
  GPIO_InitStruct.Pull = GPIO_NOPULL;
  HAL_GPIO_Init(B1_GPIO_Port, &GPIO_InitStruct);

  /*Configure GPIO pin : PA12 */
  GPIO_InitStruct.Pin = GPIO_PIN_12;
  GPIO_InitStruct.Mode = GPIO_MODE_OUTPUT_PP;
  GPIO_InitStruct.Pull = GPIO_NOPULL;
  GPIO_InitStruct.Speed = GPIO_SPEED_FREQ_LOW;
  HAL_GPIO_Init(GPIOA, &GPIO_InitStruct);

}

void Error_Handler(void)
{
  __disable_irq();
  while (1)
  {
  }
}
